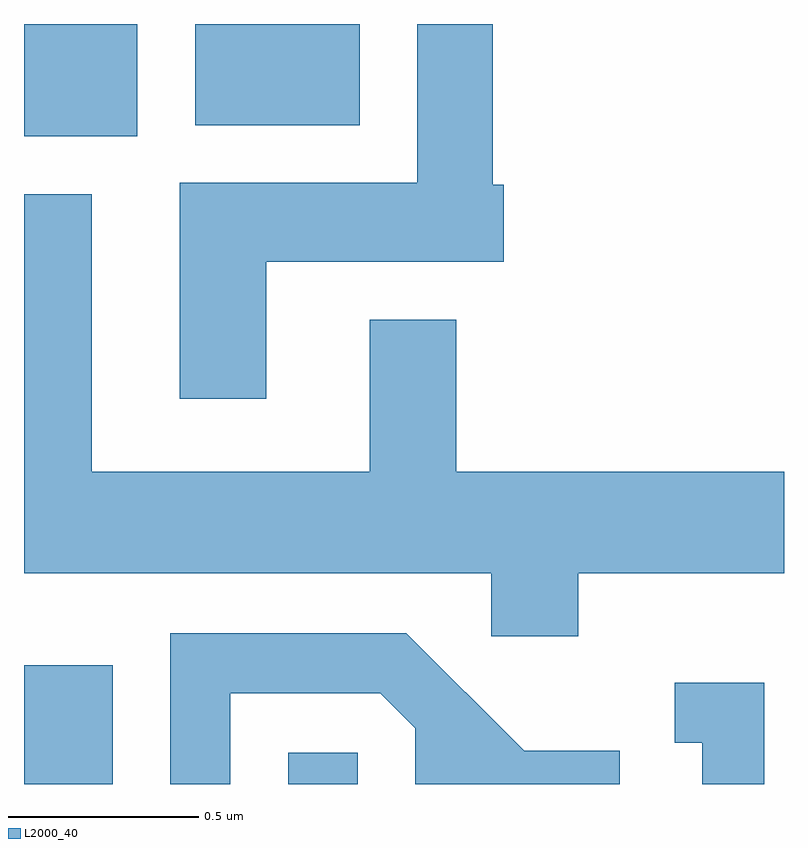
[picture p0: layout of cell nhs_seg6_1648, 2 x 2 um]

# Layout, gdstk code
import gdstk
lib = gdstk.Library(unit=1e-6, precision=1e-09)
def R(c, l, rs):  # rectangles x0, y0, x1, y1
    for r in rs: c.add(gdstk.rectangle(r[:2], r[2:], *l))
def P(c, l, *ps):  # polygons
    for p in ps: c.add(gdstk.Polygon(p, *l))
L2000_40 = (2000, 40)

nhs_seg6_1648 = lib.new_cell('nhs_seg6_1648')
R(nhs_seg6_1648, L2000_40, [(197.611,1536.162,197.844,1536.474), (198.306,1536.162,198.489,1536.244), (197.611,1537.866,197.909,1538.162), (198.061,1537.896,198.494,1538.162)])
P(nhs_seg6_1648, L2000_40, [(198.249,1537.536),(198.874,1537.536),(198.874,1537.739),(198.844,1537.739),(198.844,1538.162),(198.646,1538.162),(198.646,1537.744),(198.021,1537.744),(198.021,1537.176),(198.249,1537.176)],
  [(199.069,1536.716),(199.611,1536.716),(199.611,1536.984),(198.749,1536.984),(198.749,1537.384),(198.521,1537.384),(198.521,1536.984),(197.789,1536.984),(197.789,1537.714),(197.611,1537.714),(197.611,1536.716),(198.841,1536.716),(198.841,1536.551),(199.069,1536.551)],
  [(198.154,1536.401),(198.549,1536.401),(198.641,1536.309),(198.641,1536.162),(199.179,1536.162),(199.179,1536.249),(198.927,1536.249),(198.617,1536.559),(197.996,1536.559),(197.996,1536.162),(198.154,1536.162)],
  [(199.559,1536.429),(199.323,1536.429),(199.323,1536.271),(199.396,1536.271),(199.396,1536.162),(199.559,1536.162)])

lib.write_gds('nhs_seg6_1648.gds')
